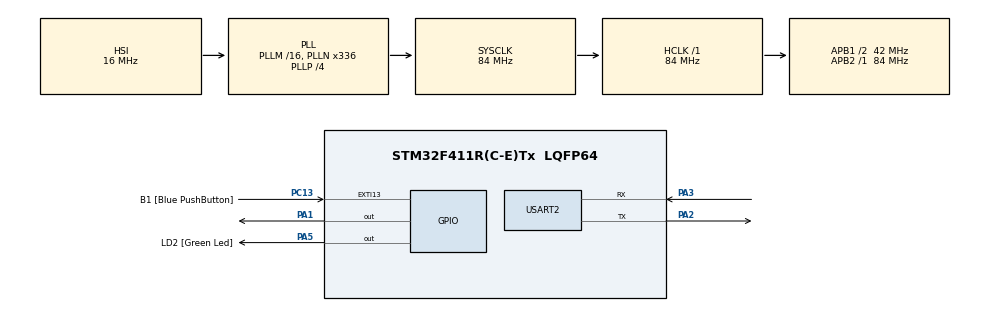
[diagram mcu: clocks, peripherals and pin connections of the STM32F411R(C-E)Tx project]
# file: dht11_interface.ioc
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Mcu.Family=STM32F4
Mcu.Name=STM32F411R(C-E)Tx
Mcu.Package=LQFP64
NVIC.PriorityGroup=NVIC_PRIORITYGROUP_0
PA1.Signal=GPIO_Output
PA2.Mode=Asynchronous
PA2.Signal=USART2_TX
PA3.Mode=Asynchronous
PA3.Signal=USART2_RX
PA5.GPIO_Label=LD2 [Green Led]
PA5.Signal=GPIO_Output
PC13-ANTI_TAMP.GPIO_Label=B1 [Blue PushButton]
PC13-ANTI_TAMP.GPIO_ModeDefaultEXTI=GPIO_MODE_IT_FALLING
PC13-ANTI_TAMP.Signal=GPXTI13
ProjectManager.HeapSize=0x200
ProjectManager.StackSize=0x400
ProjectManager.TargetToolchain=STM32CubeIDE
RCC.48MHZClocksFreq_Value=84000000
RCC.AHBFreq_Value=84000000
RCC.APB1CLKDivider=RCC_HCLK_DIV2
RCC.APB1Freq_Value=42000000
RCC.APB1TimFreq_Value=84000000
RCC.APB2Freq_Value=84000000
RCC.APB2TimFreq_Value=84000000
RCC.CortexFreq_Value=84000000
RCC.FLatency-AdvancedSettings=FLASH_LATENCY_2
RCC.HCLKFreq_Value=84000000
RCC.HSE_VALUE=8000000
RCC.HSI_VALUE=16000000
RCC.LSE_VALUE=32768
RCC.PLLN=336
RCC.PLLP=RCC_PLLP_DIV4
RCC.SYSCLKFreq_VALUE=84000000
RCC.SYSCLKSource=RCC_SYSCLKSOURCE_PLLCLK
RCC.VCOOutputFreq_Value=336000000
TIM2.Prescaler=83
USART2.VirtualMode=VM_ASYNC
VP_TIM2_VS_ClockSourceINT.Mode=Internal
VP_TIM2_VS_ClockSourceITR.Mode=TriggerSource_ITR0
board=NUCLEO-F411RE

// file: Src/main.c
/* USER CODE BEGIN Header */
/**
  ******************************************************************************
  * @file           : main.c
  * @brief          : Main program body
  ******************************************************************************
  * @attention
  *
  * Copyright (c) 2026 STMicroelectronics.
  * All rights reserved.
  *
  * This software is licensed under terms that can be found in the LICENSE file
  * in the root directory of this software component.
  * If no LICENSE file comes with this software, it is provided AS-IS.
  *
  ******************************************************************************
  */
/* USER CODE END Header */
#include "dht11.h"
#include "main.h"

#include <stdio.h>
#include <string.h>

TIM_HandleTypeDef htim2;

UART_HandleTypeDef huart2;

void SystemClock_Config(void);
static void MX_GPIO_Init(void);
static void MX_TIM2_Init(void);
static void MX_USART2_UART_Init(void);

/* USER CODE BEGIN 0 */
int _write(int file, char *ptr, int len)
{
    HAL_StatusTypeDef status;

    status = HAL_UART_Transmit(&huart2,
                               (uint8_t *)ptr,
                               len,
                               100);

    if (status != HAL_OK)
    {
        return 0;
    }

    return len;
}

/* USER CODE END 0 */

int main(void)
{

  /* MCU Configuration--------------------------------------------------------*/

  /* Reset of all peripherals, Initializes the Flash interface and the Systick. */
  HAL_Init();

  /* Configure the system clock */
  SystemClock_Config();

  /* Initialize all configured peripherals */
  MX_GPIO_Init();
  MX_TIM2_Init();
  MX_USART2_UART_Init();
  /* USER CODE BEGIN 2 */
  printf("TIM2 test\r\n");
  HAL_TIM_Base_Start(&htim2);
  printf("DHT11 Test Starting...\r\n");

  char msg[] = "DIRECT UART TEST\r\n";

    HAL_UART_Transmit(&huart2,
                      (uint8_t *)msg,
                      strlen(msg),
                      100);

  /* USER CODE END 2 */
    DHT11_Data_t dht11;

  /* Infinite loop */
  while (1)
  {
	  if (DHT11_Read(&dht11))
	  {
	      printf("Temperature: %d C\r\n", dht11.temperature);
	      printf("Humidity: %d %%\r\n", dht11.humidity);
	      printf("----------------------\r\n");
	  }
	  else
	  {
	      printf("DHT11 read error!\r\n");
	  }

	  HAL_Delay(2000);

  }
}

void SystemClock_Config(void)
{
  RCC_OscInitTypeDef RCC_OscInitStruct = {0};
  RCC_ClkInitTypeDef RCC_ClkInitStruct = {0};

  /** Configure the main internal regulator output voltage
  */
  __HAL_RCC_PWR_CLK_ENABLE();
  __HAL_PWR_VOLTAGESCALING_CONFIG(PWR_REGULATOR_VOLTAGE_SCALE1);

  /** Initializes the RCC Oscillators according to the specified parameters
  * in the RCC_OscInitTypeDef structure.
  */
  RCC_OscInitStruct.OscillatorType = RCC_OSCILLATORTYPE_HSI;
  RCC_OscInitStruct.HSIState = RCC_HSI_ON;
  RCC_OscInitStruct.HSICalibrationValue = RCC_HSICALIBRATION_DEFAULT;
  RCC_OscInitStruct.PLL.PLLState = RCC_PLL_ON;
  RCC_OscInitStruct.PLL.PLLSource = RCC_PLLSOURCE_HSI;
  RCC_OscInitStruct.PLL.PLLM = 16;
  RCC_OscInitStruct.PLL.PLLN = 336;
  RCC_OscInitStruct.PLL.PLLP = RCC_PLLP_DIV4;
  RCC_OscInitStruct.PLL.PLLQ = 4;
  if (HAL_RCC_OscConfig(&RCC_OscInitStruct) != HAL_OK)
  {
    Error_Handler();
  }

  /** Initializes the CPU, AHB and APB buses clocks
  */
  RCC_ClkInitStruct.ClockType = RCC_CLOCKTYPE_HCLK|RCC_CLOCKTYPE_SYSCLK
                              |RCC_CLOCKTYPE_PCLK1|RCC_CLOCKTYPE_PCLK2;
  RCC_ClkInitStruct.SYSCLKSource = RCC_SYSCLKSOURCE_PLLCLK;
  RCC_ClkInitStruct.AHBCLKDivider = RCC_SYSCLK_DIV1;
  RCC_ClkInitStruct.APB1CLKDivider = RCC_HCLK_DIV2;
  RCC_ClkInitStruct.APB2CLKDivider = RCC_HCLK_DIV1;

  if (HAL_RCC_ClockConfig(&RCC_ClkInitStruct, FLASH_LATENCY_2) != HAL_OK)
  {
    Error_Handler();
  }
}

static void MX_TIM2_Init(void)
{

  TIM_ClockConfigTypeDef sClockSourceConfig = {0};
  TIM_SlaveConfigTypeDef sSlaveConfig = {0};
  TIM_MasterConfigTypeDef sMasterConfig = {0};

  htim2.Instance = TIM2;
  htim2.Init.Prescaler = 83;
  htim2.Init.CounterMode = TIM_COUNTERMODE_UP;
  htim2.Init.Period = 4294967295;
  htim2.Init.ClockDivision = TIM_CLOCKDIVISION_DIV1;
  htim2.Init.AutoReloadPreload = TIM_AUTORELOAD_PRELOAD_DISABLE;
  if (HAL_TIM_Base_Init(&htim2) != HAL_OK)
  {
    Error_Handler();
  }
  sClockSourceConfig.ClockSource = TIM_CLOCKSOURCE_INTERNAL;
  if (HAL_TIM_ConfigClockSource(&htim2, &sClockSourceConfig) != HAL_OK)
  {
    Error_Handler();
  }
  sSlaveConfig.SlaveMode = TIM_SLAVEMODE_DISABLE;
  sSlaveConfig.InputTrigger = TIM_TS_ITR0;
  if (HAL_TIM_SlaveConfigSynchro(&htim2, &sSlaveConfig) != HAL_OK)
  {
    Error_Handler();
  }
  sMasterConfig.MasterOutputTrigger = TIM_TRGO_RESET;
  sMasterConfig.MasterSlaveMode = TIM_MASTERSLAVEMODE_DISABLE;
  if (HAL_TIMEx_MasterConfigSynchronization(&htim2, &sMasterConfig) != HAL_OK)
  {
    Error_Handler();
  }

}

static void MX_USART2_UART_Init(void)
{

  huart2.Instance = USART2;
  huart2.Init.BaudRate = 115200;
  huart2.Init.WordLength = UART_WORDLENGTH_8B;
  huart2.Init.StopBits = UART_STOPBITS_1;
  huart2.Init.Parity = UART_PARITY_NONE;
  huart2.Init.Mode = UART_MODE_TX_RX;
  huart2.Init.HwFlowCtl = UART_HWCONTROL_NONE;
  huart2.Init.OverSampling = UART_OVERSAMPLING_16;
  if (HAL_UART_Init(&huart2) != HAL_OK)
  {
    Error_Handler();
  }

}

static void MX_GPIO_Init(void)
{
  GPIO_InitTypeDef GPIO_InitStruct = {0};

  /* GPIO Ports Clock Enable */
  __HAL_RCC_GPIOC_CLK_ENABLE();
  __HAL_RCC_GPIOA_CLK_ENABLE();

  /*Configure GPIO pin Output Level */
  HAL_GPIO_WritePin(GPIOA, GPIO_PIN_1|LD2_Pin, GPIO_PIN_RESET);

  /*Configure GPIO pin : B1_Pin */
  GPIO_InitStruct.Pin = B1_Pin;
  GPIO_InitStruct.Mode = GPIO_MODE_IT_FALLING;
  GPIO_InitStruct.Pull = GPIO_NOPULL;
  HAL_GPIO_Init(B1_GPIO_Port, &GPIO_InitStruct);

  /*Configure GPIO pins : PA1 LD2_Pin */
  GPIO_InitStruct.Pin = GPIO_PIN_1|LD2_Pin;
  GPIO_InitStruct.Mode = GPIO_MODE_OUTPUT_PP;
  GPIO_InitStruct.Pull = GPIO_NOPULL;
  GPIO_InitStruct.Speed = GPIO_SPEED_FREQ_LOW;
  HAL_GPIO_Init(GPIOA, &GPIO_InitStruct);

}

void Error_Handler(void)
{
  __disable_irq();
  while (1)
  {
  }
}
